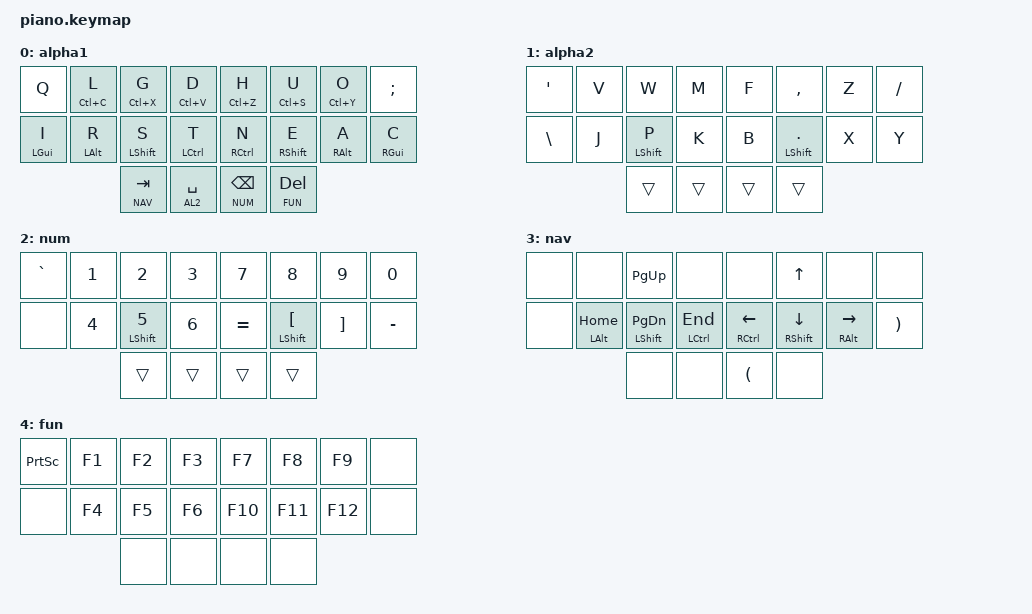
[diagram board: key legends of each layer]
/*
 * Copyright (c) 2020 The ZMK Contributors
 *
 * SPDX-License-Identifier: MIT
 */

#include <behaviors.dtsi>
#include <dt-bindings/zmk/keys.h>
#include <dt-bindings/zmk/bt.h>
#include <dt-bindings/zmk/outputs.h>


&mt {
    tapping-term-ms = <200>;
    flavor = "tap-preferred";
};

&lt {
    tapping-term-ms = <200>;
    flavor = "hold-preferred";
};

&caps_word {
    continue-list = <UNDERSCORE MINUS>, <BACKSPACE>, <DELETE>;
};

#define AS(keycode) &as LS(keycode) keycode

// LAYERS
#define AL1 0
#define AL2 1
#define NUM 2
#define NAV 3
#define FUN 4

/ {
    combos {
        compatible = "zmk,combos";

        combo_esc {
            timeout-ms = <30>;
            key-positions = <16 17>;
            bindings = <&kp ESC>;
        };

        combo_enter {
            timeout-ms = <30>;
            key-positions = <18 19>;
            bindings = <&kp ENTER>;
        };
    };

    behaviors {
        as: auto_shift {
            compatible = "zmk,behavior-hold-tap";
            label = "AUTO_SHIFT";
            #binding-cells = <2>;
            tapping_term_ms = <200>;
            quick_tap_ms = <0>;
            flavor = "tap-preferred";
            bindings = <&kp>, <&kp>;
        };
    };

    //  0   1   2   3       4   5   6   7
    //  8   9   10  11      12  13  14  15
    //          16  17      18  19
    keymap {
        compatible = "zmk,keymap";

        alpha1 {
            bindings = <
                &kp Q           &as LC(C) L     &as LC(X) G     &as LC(V) D                 &as LC(Z) H     &as LC(S) U     &as LC(Y) O     &kp SEMI
                &mt LGUI I      &mt LALT R      &mt LSHIFT S    &mt LCTL T                  &mt RCTL N      &mt RSHIFT E    &mt RALT A      &mt RGUI C
                                                &lt NAV TAB     &lt AL2 SPC                 &lt NUM BSPC    &lt FUN DEL
            >;
        };

        alpha2 {
            bindings = <
                &kp SQT         &kp V           &kp W           &kp M                       &kp F           &kp COMMA       &kp Z           &kp FSLH
                &kp BSLH        &kp J           &mt LSHIFT P    &kp K                       &kp B           &mt LSHIFT DOT  &kp X           &kp Y
                                                &trans          &trans                      &trans          &trans
            >;
        };

        num {
            bindings = <
                &kp GRAVE       &kp N1          &kp N2          &kp N3                      &kp N7          &kp N8          &kp N9          &kp N0
                &none           &kp N4          &mt LSHIFT N5   &kp N6                      &kp EQUAL       &mt LSHIFT LBKT &kp RBKT        &kp MINUS
                                                &trans          &trans                      &trans          &trans
            >;
        };

        nav {
            bindings = <
                &none           &none           &kp PG_UP        &none                      &none           &kp UP          &none           &none
                &none           &mt LALT HOME   &mt LSHIFT PG_DN &mt LCTL END               &mt RCTL LEFT   &mt RSHIFT DOWN &mt RALT RIGHT  &kp RPAR
                                                &none            &none                      &kp LPAR        &none
            >;
        };

        fun {
            bindings = <
                &kp PSCRN       &kp F1       &kp F2          &kp F3                         &kp F7           &kp F8         &kp F9          &none
                &none           &kp F4       &kp F5          &kp F6                         &kp F10          &kp F11        &kp F12         &none
                                             &none           &none                          &none            &none
            >;
        };
    };
};
